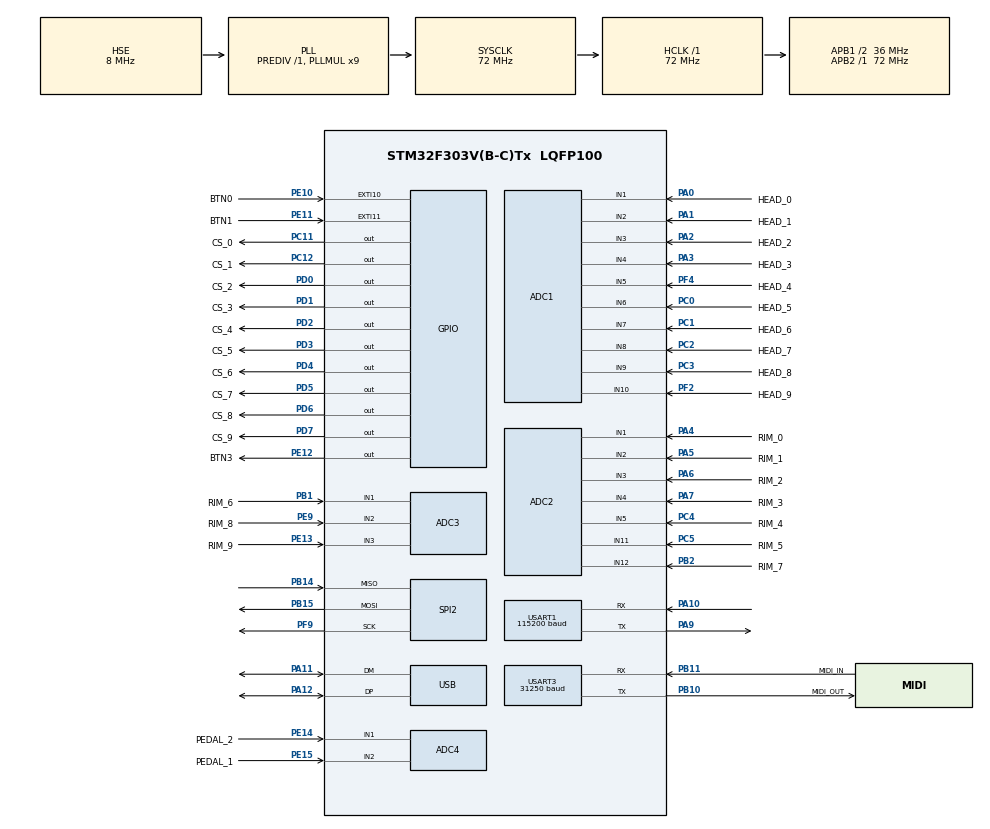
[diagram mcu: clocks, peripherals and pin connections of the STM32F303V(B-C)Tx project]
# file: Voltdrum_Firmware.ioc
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ADC1.Channel=ADC_CHANNEL_9
ADC1.Channel-0\#ChannelRegularConversion=ADC_CHANNEL_1
ADC1.Channel-13\#ChannelRegularConversion=ADC_CHANNEL_2
ADC1.Channel-14\#ChannelRegularConversion=ADC_CHANNEL_3
ADC1.Channel-15\#ChannelRegularConversion=ADC_CHANNEL_4
ADC1.Channel-16\#ChannelRegularConversion=ADC_CHANNEL_5
ADC1.Channel-17\#ChannelRegularConversion=ADC_CHANNEL_6
ADC1.Channel-18\#ChannelRegularConversion=ADC_CHANNEL_7
ADC1.Channel-19\#ChannelRegularConversion=ADC_CHANNEL_8
ADC1.Channel-20\#ChannelRegularConversion=ADC_CHANNEL_9
ADC1.Channel-21\#ChannelRegularConversion=ADC_CHANNEL_10
ADC1.NbrOfConversion=10
ADC1.Rank-13\#ChannelRegularConversion=2
ADC1.Rank-14\#ChannelRegularConversion=3
ADC1.Rank-15\#ChannelRegularConversion=4
ADC1.Rank-16\#ChannelRegularConversion=5
ADC1.Rank-17\#ChannelRegularConversion=6
ADC1.Rank-18\#ChannelRegularConversion=7
ADC1.Rank-19\#ChannelRegularConversion=8
ADC1.Rank-20\#ChannelRegularConversion=9
ADC1.Rank-21\#ChannelRegularConversion=10
ADC1.master=1
ADC2.Channel=ADC_CHANNEL_11
ADC2.Channel-0\#ChannelRegularConversion=ADC_CHANNEL_1
ADC2.Channel-1\#ChannelRegularConversion=ADC_CHANNEL_2
ADC2.Channel-2\#ChannelRegularConversion=ADC_CHANNEL_3
ADC2.Channel-3\#ChannelRegularConversion=ADC_CHANNEL_4
ADC2.Channel-4\#ChannelRegularConversion=ADC_CHANNEL_5
ADC2.Channel-5\#ChannelRegularConversion=ADC_CHANNEL_12
ADC2.Channel-6\#ChannelRegularConversion=ADC_CHANNEL_11
ADC2.NbrOfConversion=7
ADC2.Offset-0\#ChannelRegularConversion=0
ADC2.Offset-1\#ChannelRegularConversion=0
ADC2.Offset-2\#ChannelRegularConversion=0
ADC2.Offset-3\#ChannelRegularConversion=0
ADC2.Offset-4\#ChannelRegularConversion=0
ADC2.Offset-5\#ChannelRegularConversion=0
ADC2.Offset-6\#ChannelRegularConversion=0
ADC2.OffsetNumber-0\#ChannelRegularConversion=ADC_OFFSET_NONE
ADC2.OffsetNumber-1\#ChannelRegularConversion=ADC_OFFSET_NONE
ADC2.OffsetNumber-2\#ChannelRegularConversion=ADC_OFFSET_NONE
ADC2.OffsetNumber-3\#ChannelRegularConversion=ADC_OFFSET_NONE
ADC2.OffsetNumber-4\#ChannelRegularConversion=ADC_OFFSET_NONE
ADC2.OffsetNumber-5\#ChannelRegularConversion=ADC_OFFSET_NONE
ADC2.OffsetNumber-6\#ChannelRegularConversion=ADC_OFFSET_NONE
ADC2.Rank-0\#ChannelRegularConversion=1
ADC2.Rank-1\#ChannelRegularConversion=2
ADC2.Rank-2\#ChannelRegularConversion=3
ADC2.Rank-3\#ChannelRegularConversion=4
ADC2.Rank-4\#ChannelRegularConversion=5
ADC2.Rank-5\#ChannelRegularConversion=6
ADC2.Rank-6\#ChannelRegularConversion=7
ADC2.SamplingTime-0\#ChannelRegularConversion=ADC_SAMPLETIME_1CYCLE_5
ADC2.SamplingTime-1\#ChannelRegularConversion=ADC_SAMPLETIME_1CYCLE_5
ADC2.SamplingTime-2\#ChannelRegularConversion=ADC_SAMPLETIME_1CYCLE_5
ADC2.SamplingTime-3\#ChannelRegularConversion=ADC_SAMPLETIME_1CYCLE_5
ADC2.SamplingTime-4\#ChannelRegularConversion=ADC_SAMPLETIME_1CYCLE_5
ADC2.SamplingTime-5\#ChannelRegularConversion=ADC_SAMPLETIME_1CYCLE_5
ADC2.SamplingTime-6\#ChannelRegularConversion=ADC_SAMPLETIME_1CYCLE_5
ADC3.Channel=ADC_CHANNEL_2
ADC3.Channel-0\#ChannelRegularConversion=ADC_CHANNEL_1
ADC3.Channel-1\#ChannelRegularConversion=ADC_CHANNEL_2
ADC3.Channel-2\#ChannelRegularConversion=ADC_CHANNEL_3
ADC3.NbrOfConversion=3
ADC3.Offset-0\#ChannelRegularConversion=0
ADC3.Offset-1\#ChannelRegularConversion=0
ADC3.Offset-2\#ChannelRegularConversion=0
ADC3.OffsetNumber-0\#ChannelRegularConversion=ADC_OFFSET_NONE
ADC3.OffsetNumber-1\#ChannelRegularConversion=ADC_OFFSET_NONE
ADC3.OffsetNumber-2\#ChannelRegularConversion=ADC_OFFSET_NONE
ADC3.Rank-0\#ChannelRegularConversion=1
ADC3.Rank-1\#ChannelRegularConversion=2
ADC3.Rank-2\#ChannelRegularConversion=3
ADC3.SamplingTime-0\#ChannelRegularConversion=ADC_SAMPLETIME_1CYCLE_5
ADC3.SamplingTime-1\#ChannelRegularConversion=ADC_SAMPLETIME_1CYCLE_5
ADC3.SamplingTime-2\#ChannelRegularConversion=ADC_SAMPLETIME_1CYCLE_5
ADC3.master=1
ADC4.Channel=ADC_CHANNEL_1
ADC4.Channel-0\#ChannelRegularConversion=ADC_CHANNEL_1
ADC4.Channel-1\#ChannelRegularConversion=ADC_CHANNEL_2
ADC4.NbrOfConversion=2
ADC4.Offset-0\#ChannelRegularConversion=0
ADC4.Offset-1\#ChannelRegularConversion=0
ADC4.OffsetNumber-0\#ChannelRegularConversion=ADC_OFFSET_NONE
ADC4.OffsetNumber-1\#ChannelRegularConversion=ADC_OFFSET_NONE
ADC4.Rank-0\#ChannelRegularConversion=1
ADC4.Rank-1\#ChannelRegularConversion=2
ADC4.SamplingTime-0\#ChannelRegularConversion=ADC_SAMPLETIME_1CYCLE_5
ADC4.SamplingTime-1\#ChannelRegularConversion=ADC_SAMPLETIME_1CYCLE_5
Dma.ADC1.3.Direction=DMA_PERIPH_TO_MEMORY
Dma.ADC1.3.Instance=DMA1_Channel1
Dma.ADC1.3.MemDataAlignment=DMA_MDATAALIGN_WORD
Dma.ADC1.3.MemInc=DMA_MINC_ENABLE
Dma.ADC1.3.Mode=DMA_CIRCULAR
Dma.ADC1.3.PeriphDataAlignment=DMA_PDATAALIGN_WORD
Dma.ADC1.3.PeriphInc=DMA_PINC_DISABLE
Dma.ADC1.3.Priority=DMA_PRIORITY_HIGH
Dma.ADC2.0.Direction=DMA_PERIPH_TO_MEMORY
Dma.ADC2.0.Instance=DMA2_Channel1
Dma.ADC2.0.MemDataAlignment=DMA_MDATAALIGN_WORD
Dma.ADC2.0.MemInc=DMA_MINC_ENABLE
Dma.ADC2.0.Mode=DMA_CIRCULAR
Dma.ADC2.0.PeriphDataAlignment=DMA_PDATAALIGN_WORD
Dma.ADC2.0.PeriphInc=DMA_PINC_DISABLE
Dma.ADC2.0.Priority=DMA_PRIORITY_HIGH
Dma.ADC3.1.Direction=DMA_PERIPH_TO_MEMORY
Dma.ADC3.1.Instance=DMA2_Channel5
Dma.ADC3.1.MemDataAlignment=DMA_MDATAALIGN_WORD
Dma.ADC3.1.MemInc=DMA_MINC_ENABLE
Dma.ADC3.1.Mode=DMA_CIRCULAR
Dma.ADC3.1.PeriphDataAlignment=DMA_PDATAALIGN_WORD
Dma.ADC3.1.PeriphInc=DMA_PINC_DISABLE
Dma.ADC3.1.Priority=DMA_PRIORITY_HIGH
Dma.ADC4.2.Direction=DMA_PERIPH_TO_MEMORY
Dma.ADC4.2.Instance=DMA2_Channel2
Dma.ADC4.2.MemDataAlignment=DMA_MDATAALIGN_WORD
Dma.ADC4.2.MemInc=DMA_MINC_ENABLE
Dma.ADC4.2.Mode=DMA_CIRCULAR
Dma.ADC4.2.PeriphDataAlignment=DMA_PDATAALIGN_WORD
Dma.ADC4.2.PeriphInc=DMA_PINC_DISABLE
Dma.ADC4.2.Priority=DMA_PRIORITY_MEDIUM
Dma.Request0=ADC2
Dma.Request1=ADC3
Dma.Request2=ADC4
Dma.Request3=ADC1
Mcu.Family=STM32F3
Mcu.Name=STM32F303V(B-C)Tx
Mcu.Package=LQFP100
NVIC.EXTI15_10_IRQn=true\:4\:0\:true
NVIC.PriorityGroup=NVIC_PRIORITYGROUP_4
NVIC.TIM1_UP_TIM16_IRQn=true\:1\:0\:true
NVIC.TIM2_IRQn=true\:2\:0\:true
NVIC.TIM3_IRQn=true\:4\:0\:true
NVIC.USART1_IRQn=true\:4\:0\:true
NVIC.USART3_IRQn=true\:3\:0\:true
NVIC.USB_LP_CAN_RX0_IRQn=true\:4\:0\:true
PA0.GPIO_Label=HEAD_0
PA0.GPIO_Mode=GPIO_MODE_ANALOG
PA0.GPIO_PuPd=GPIO_NOPULL
PA0.Mode=IN1-Single-Ended
PA0.Signal=ADC1_IN1
PA1.GPIO_Label=HEAD_1
PA1.GPIO_Mode=GPIO_MODE_ANALOG
PA1.GPIO_PuPd=GPIO_NOPULL
PA1.Mode=IN2-Single-Ended
PA1.Signal=ADC1_IN2
PA10.Mode=Asynchronous
PA10.Signal=USART1_RX
PA11.Mode=Device
PA11.Signal=USB_DM
PA12.Mode=Device
PA12.Signal=USB_DP
PA13.Mode=JTAG(5-pin)
PA13.Signal=SYS_JTMS-SWDIO
PA14.Mode=JTAG(5-pin)
PA14.Signal=SYS_JTCK-SWCLK
PA15.Mode=JTAG(5-pin)
PA15.Signal=SYS_JTDI
PA2.GPIO_Label=HEAD_2
PA2.GPIO_Mode=GPIO_MODE_ANALOG
PA2.GPIO_PuPd=GPIO_NOPULL
PA2.Mode=IN3-Single-Ended
PA2.Signal=ADC1_IN3
PA3.GPIO_Label=HEAD_3
PA3.GPIO_Mode=GPIO_MODE_ANALOG
PA3.GPIO_PuPd=GPIO_NOPULL
PA3.Mode=IN4-Single-Ended
PA3.Signal=ADC1_IN4
PA4.GPIO_Label=RIM_0
PA4.GPIO_Mode=GPIO_MODE_ANALOG
PA4.GPIO_PuPd=GPIO_NOPULL
PA4.Mode=IN1-Single-Ended
PA4.Signal=ADC2_IN1
PA5.GPIO_Label=RIM_1
PA5.GPIO_Mode=GPIO_MODE_ANALOG
PA5.GPIO_PuPd=GPIO_NOPULL
PA5.Mode=IN2-Single-Ended
PA5.Signal=ADC2_IN2
PA6.GPIO_Label=RIM_2
PA6.GPIO_Mode=GPIO_MODE_ANALOG
PA6.GPIO_PuPd=GPIO_NOPULL
PA6.Mode=IN3-Single-Ended
PA6.Signal=ADC2_IN3
PA7.GPIO_Label=RIM_3
PA7.GPIO_Mode=GPIO_MODE_ANALOG
PA7.GPIO_PuPd=GPIO_NOPULL
PA7.Mode=IN4-Single-Ended
PA7.Signal=ADC2_IN4
PA9.Mode=Asynchronous
PA9.Signal=USART1_TX
PB1.GPIO_Label=RIM_6
PB1.GPIO_Mode=GPIO_MODE_ANALOG
PB1.GPIO_PuPd=GPIO_NOPULL
PB1.Mode=IN1-Single-Ended
PB1.Signal=ADC3_IN1
PB10.GPIO_Label=MIDI_OUT
PB10.GPIO_Mode=GPIO_MODE_AF_PP
PB10.GPIO_PuPd=GPIO_PULLUP
PB10.GPIO_Speed=GPIO_SPEED_LOW
PB10.Mode=Asynchronous
PB10.Signal=USART3_TX
PB11.GPIO_Label=MIDI_IN
PB11.GPIO_Mode=GPIO_MODE_AF_PP
PB11.GPIO_PuPd=GPIO_PULLUP
PB11.GPIO_Speed=GPIO_SPEED_LOW
PB11.Mode=Asynchronous
PB11.Signal=USART3_RX
PB14.Mode=Full_Duplex_Master
PB14.Signal=SPI2_MISO
PB15.Mode=Full_Duplex_Master
PB15.Signal=SPI2_MOSI
PB2.GPIO_Label=RIM_7
PB2.GPIO_Mode=GPIO_MODE_ANALOG
PB2.GPIO_PuPd=GPIO_NOPULL
PB2.Mode=IN12-Single-Ended
PB2.Signal=ADC2_IN12
PB3.Mode=JTAG(5-pin)
PB3.Signal=SYS_JTDO-TRACESWO
PB4.Mode=JTAG(5-pin)
PB4.Signal=SYS_NJTRST
PC0.GPIO_Label=HEAD_5
PC0.GPIO_Mode=GPIO_MODE_ANALOG
PC0.GPIO_PuPd=GPIO_NOPULL
PC0.Signal=ADCx_IN6
PC1.GPIO_Label=HEAD_6
PC1.GPIO_Mode=GPIO_MODE_ANALOG
PC1.GPIO_PuPd=GPIO_NOPULL
PC1.Signal=ADCx_IN7
PC11.GPIO_Label=CS_0
PC11.GPIO_ModeDefaultOutputPP=GPIO_MODE_OUTPUT_PP
PC11.GPIO_PuPd=GPIO_NOPULL
PC11.GPIO_Speed=GPIO_SPEED_LOW
PC11.Signal=GPIO_Output
PC12.GPIO_Label=CS_1
PC12.GPIO_ModeDefaultOutputPP=GPIO_MODE_OUTPUT_PP
PC12.GPIO_PuPd=GPIO_NOPULL
PC12.GPIO_Speed=GPIO_SPEED_LOW
PC12.Signal=GPIO_Output
PC14-OSC32_IN.Mode=LSE-External-Oscillator
PC14-OSC32_IN.Signal=RCC_OSC32_IN
PC15-OSC32_OUT.Mode=LSE-External-Oscillator
PC15-OSC32_OUT.Signal=RCC_OSC32_OUT
PC2.GPIO_Label=HEAD_7
PC2.GPIO_Mode=GPIO_MODE_ANALOG
PC2.GPIO_PuPd=GPIO_NOPULL
PC2.Signal=ADCx_IN8
PC3.GPIO_Label=HEAD_8
PC3.GPIO_Mode=GPIO_MODE_ANALOG
PC3.GPIO_PuPd=GPIO_NOPULL
PC3.Signal=ADCx_IN9
PC4.GPIO_Label=RIM_4
PC4.GPIO_Mode=GPIO_MODE_ANALOG
PC4.GPIO_PuPd=GPIO_NOPULL
PC4.Mode=IN5-Single-Ended
PC4.Signal=ADC2_IN5
PC5.GPIO_Label=RIM_5
PC5.GPIO_Mode=GPIO_MODE_ANALOG
PC5.GPIO_PuPd=GPIO_NOPULL
PC5.Mode=IN11-Single-Ended
PC5.Signal=ADC2_IN11
PD0.GPIO_Label=CS_2
PD0.GPIO_ModeDefaultOutputPP=GPIO_MODE_OUTPUT_PP
PD0.GPIO_PuPd=GPIO_NOPULL
PD0.GPIO_Speed=GPIO_SPEED_LOW
PD0.Signal=GPIO_Output
PD1.GPIO_Label=CS_3
PD1.GPIO_ModeDefaultOutputPP=GPIO_MODE_OUTPUT_PP
PD1.GPIO_PuPd=GPIO_NOPULL
PD1.GPIO_Speed=GPIO_SPEED_LOW
PD1.Signal=GPIO_Output
PD2.GPIO_Label=CS_4
PD2.GPIO_ModeDefaultOutputPP=GPIO_MODE_OUTPUT_PP
PD2.GPIO_PuPd=GPIO_NOPULL
PD2.GPIO_Speed=GPIO_SPEED_LOW
PD2.Signal=GPIO_Output
PD3.GPIO_Label=CS_5
PD3.GPIO_ModeDefaultOutputPP=GPIO_MODE_OUTPUT_PP
PD3.GPIO_PuPd=GPIO_NOPULL
PD3.GPIO_Speed=GPIO_SPEED_LOW
PD3.Signal=GPIO_Output
PD4.GPIO_Label=CS_6
PD4.GPIO_ModeDefaultOutputPP=GPIO_MODE_OUTPUT_PP
PD4.GPIO_PuPd=GPIO_NOPULL
PD4.GPIO_Speed=GPIO_SPEED_LOW
PD4.Signal=GPIO_Output
PD5.GPIO_Label=CS_7
PD5.GPIO_ModeDefaultOutputPP=GPIO_MODE_OUTPUT_PP
PD5.GPIO_PuPd=GPIO_NOPULL
PD5.GPIO_Speed=GPIO_SPEED_LOW
PD5.Signal=GPIO_Output
PD6.GPIO_Label=CS_8
PD6.GPIO_ModeDefaultOutputPP=GPIO_MODE_OUTPUT_PP
PD6.GPIO_PuPd=GPIO_NOPULL
PD6.GPIO_Speed=GPIO_SPEED_LOW
PD6.Signal=GPIO_Output
PD7.GPIO_Label=CS_9
PD7.GPIO_ModeDefaultOutputPP=GPIO_MODE_OUTPUT_PP
PD7.GPIO_PuPd=GPIO_NOPULL
PD7.GPIO_Speed=GPIO_SPEED_LOW
PD7.Signal=GPIO_Output
PE10.GPIO_Label=BTN0
PE10.GPIO_ModeDefaultEXTI=GPIO_MODE_IT_RISING
PE10.GPIO_PuPd=GPIO_NOPULL
PE10.Signal=GPXTI10
PE11.GPIO_Label=BTN1
PE11.GPIO_ModeDefaultEXTI=GPIO_MODE_IT_RISING
PE11.GPIO_PuPd=GPIO_NOPULL
PE11.Signal=GPXTI11
PE12.GPIO_Label=BTN3
PE12.Signal=GPIO_Output
PE13.GPIO_Label=RIM_9
PE13.GPIO_Mode=GPIO_MODE_ANALOG
PE13.GPIO_PuPd=GPIO_NOPULL
PE13.Mode=IN3-Single-Ended
PE13.Signal=ADC3_IN3
PE14.GPIO_Label=PEDAL_2
PE14.GPIO_Mode=GPIO_MODE_ANALOG
PE14.GPIO_PuPd=GPIO_NOPULL
PE14.Mode=IN1-Single-Ended
PE14.Signal=ADC4_IN1
PE15.GPIO_Label=PEDAL_1
PE15.GPIO_Mode=GPIO_MODE_ANALOG
PE15.GPIO_PuPd=GPIO_NOPULL
PE15.Mode=IN2-Single-Ended
PE15.Signal=ADC4_IN2
PE9.GPIO_Label=RIM_8
PE9.GPIO_Mode=GPIO_MODE_ANALOG
PE9.GPIO_PuPd=GPIO_NOPULL
PE9.Mode=IN2-Single-Ended
PE9.Signal=ADC3_IN2
PF0-OSC_IN.Mode=HSE-External-Oscillator
PF0-OSC_IN.Signal=RCC_OSC_IN
PF1-OSC_OUT.Mode=HSE-External-Oscillator
PF1-OSC_OUT.Signal=RCC_OSC_OUT
PF2.GPIO_Label=HEAD_9
PF2.GPIO_Mode=GPIO_MODE_ANALOG
PF2.GPIO_PuPd=GPIO_NOPULL
PF2.Signal=ADCx_IN10
PF4.GPIO_Label=HEAD_4
PF4.GPIO_Mode=GPIO_MODE_ANALOG
PF4.GPIO_PuPd=GPIO_NOPULL
PF4.Mode=IN5-Single-Ended
PF4.Signal=ADC1_IN5
PF9.Mode=Full_Duplex_Master
PF9.Signal=SPI2_SCK
ProjectManager.TargetToolchain=TrueSTUDIO 4.3.1
RCC.AHBFreq_Value=72000000
RCC.APB1CLKDivider=RCC_HCLK_DIV2
RCC.APB1Freq_Value=36000000
RCC.APB1TimFreq_Value=72000000
RCC.APB2Freq_Value=72000000
RCC.APB2TimFreq_Value=72000000
RCC.CortexFreq_Value=9000000
RCC.EnbaleCSS=true
RCC.HCLKFreq_Value=72000000
RCC.HSE_VALUE=8000000
RCC.HSIState=RCC_HSI_ON
RCC.HSI_VALUE=8000000
RCC.LSE_VALUE=32768
RCC.PLLMUL=RCC_PLL_MUL9
RCC.PRESCALERUSB=RCC_USBPLLCLK_DIV1_5
RCC.SYSCLKFreq_VALUE=72000000
RCC.SYSCLKSourceVirtual=RCC_SYSCLKSOURCE_PLLCLK
RCC.USBFreq_Value=48000000
SH.ADCx_IN10.0=ADC1_IN10,IN10-Single-Ended
SH.ADCx_IN6.0=ADC1_IN6,IN6-Single-Ended
SH.ADCx_IN7.0=ADC1_IN7,IN7-Single-Ended
SH.ADCx_IN8.0=ADC1_IN8,IN8-Single-Ended
SH.ADCx_IN9.0=ADC1_IN9,IN9-Single-Ended
SPI2.BaudRatePrescaler-Full_Duplex_Master=SPI_BAUDRATEPRESCALER_32
SPI2.CalculateBaudRate-Full_Duplex_Master=1.125 MBits/s
SPI2.DataSize-Full_Duplex_Master=SPI_DATASIZE_16BIT
SPI2.Mode-Full_Duplex_Master=SPI_MODE_MASTER
TIM1.Period=1
TIM1.Prescaler=3600
TIM2.Period=5
TIM2.Prescaler=14400
TIM3.Period=50
TIM3.Prescaler=14400
USART1.BaudRate=115200
USART3.BaudRate=31250
USART3.DataInvertParam-Asynchronous=UART_ADVFEATURE_DATAINV_DISABLE
USART3.RxPinLevelInvertParam-Asynchronous=UART_ADVFEATURE_RXINV_DISABLE
USART3.TxPinLevelInvertParam-Asynchronous=UART_ADVFEATURE_TXINV_DISABLE
USB_DEVICE.CLASS_NAME-AUDIO_FS=AUDIO
USB_DEVICE.USBD_HandleTypeDef-AUDIO_FS=hUsbDeviceFS
USB_DEVICE.VirtualMode-AUDIO_FS=Audio
VP_TIM1_VS_ClockSourceINT.Mode=Internal
VP_TIM2_VS_ClockSourceINT.Mode=Internal
VP_TIM3_VS_ClockSourceINT.Mode=Internal
VP_USB_DEVICE_VS_USB_DEVICE_AUDIO_FS.Mode=AUDIO_FS

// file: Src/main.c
/**
  ******************************************************************************
  * File Name          : main.c
  * Date               : 13/07/2015 16:14:16
  * Description        : Main program body
  ******************************************************************************
  *
  * COPYRIGHT(c) 2015 STMicroelectronics
  *
  * Redistribution and use in source and binary forms, with or without modification,
  * are permitted provided that the following conditions are met:
  *   1. Redistributions of source code must retain the above copyright notice,
  *      this list of conditions and the following disclaimer.
  *   2. Redistributions in binary form must reproduce the above copyright notice,
  *      this list of conditions and the following disclaimer in the documentation
  *      and/or other materials provided with the distribution.
  *   3. Neither the name of STMicroelectronics nor the names of its contributors
  *      may be used to endorse or promote products derived from this software
  *      without specific prior written permission.
  *
  * THIS SOFTWARE IS PROVIDED BY THE COPYRIGHT HOLDERS AND CONTRIBUTORS "AS IS"
  * AND ANY EXPRESS OR IMPLIED WARRANTIES, INCLUDING, BUT NOT LIMITED TO, THE
  * IMPLIED WARRANTIES OF MERCHANTABILITY AND FITNESS FOR A PARTICULAR PURPOSE ARE
  * DISCLAIMED. IN NO EVENT SHALL THE COPYRIGHT HOLDER OR CONTRIBUTORS BE LIABLE
  * FOR ANY DIRECT, INDIRECT, INCIDENTAL, SPECIAL, EXEMPLARY, OR CONSEQUENTIAL
  * DAMAGES (INCLUDING, BUT NOT LIMITED TO, PROCUREMENT OF SUBSTITUTE GOODS OR
  * SERVICES; LOSS OF USE, DATA, OR PROFITS; OR BUSINESS INTERRUPTION) HOWEVER
  * CAUSED AND ON ANY THEORY OF LIABILITY, WHETHER IN CONTRACT, STRICT LIABILITY,
  * OR TORT (INCLUDING NEGLIGENCE OR OTHERWISE) ARISING IN ANY WAY OUT OF THE USE
  * OF THIS SOFTWARE, EVEN IF ADVISED OF THE POSSIBILITY OF SUCH DAMAGE.
  *
  ******************************************************************************
  */

#include "stm32f3xx_hal.h"
#include "adc.h"
#include "dma.h"
#include "spi.h"
#include "tim.h"
#include "usart.h"
#include "usb_device.h"
#include "gpio.h"

/* USER CODE BEGIN Includes */
#include "midi.h"
#include "mcp4251.h"
#include "triggerchannel.h"
#include "hihatchannel.h"
#include "performance.h"
/* USER CODE END Includes */

/* USER CODE BEGIN PV */

#define headChannelCount 10
#define rimChannelCount 10
#define hihatChannelCount 2

volatile int irqflag_timer1 = 0;
volatile int irqflag_timer2 = 0;
volatile int irqflag_timer3 = 0;
volatile int irqflag_btns[3] = {0,0,0};

volatile uint32_t adc1Samples[10*4];
volatile uint32_t adc2Samples[7*4];
volatile uint32_t adc3Samples[3*4];
volatile uint32_t adc4Samples[2];

TriggerChannel triggerChannelsHead[headChannelCount];
TriggerChannel triggerChannelsRim[rimChannelCount];
HiHatChannel hiHatChannels[hihatChannelCount];

/* USER CODE END PV */

void SystemClock_Config(void);

/* USER CODE BEGIN 0 */

void initHeadChannels(){

	int i;
	for(i = 0; i < headChannelCount; i++){
		triggerChannelsHead[i].potiWiperId = MCP4261_WIPER0;
		triggerchannel_init(&triggerChannelsHead[i], &(adc1Samples[i]), &(adc1Samples[i+10]), &(adc1Samples[i+20]), &(adc1Samples[i+30]));

	}

	triggerChannelsHead[0].potiCsPort = GPIOC;
	triggerChannelsHead[0].potiCsPin = GPIO_PIN_11;
	triggerChannelsHead[0].midinote = 36;

	triggerChannelsHead[1].potiCsPort = GPIOC;
	triggerChannelsHead[1].potiCsPin = GPIO_PIN_12;
	triggerChannelsHead[1].midinote = 38;

	triggerChannelsHead[2].potiCsPort = GPIOD;
	triggerChannelsHead[2].potiCsPin = GPIO_PIN_0;
	triggerChannelsHead[2].midinote = 38;

	triggerChannelsHead[3].potiCsPort = GPIOD;
	triggerChannelsHead[3].potiCsPin = GPIO_PIN_1;
	triggerChannelsHead[3].midinote = 38;

	triggerChannelsHead[4].potiCsPort = GPIOD;
	triggerChannelsHead[4].potiCsPin = GPIO_PIN_2;
	triggerChannelsHead[4].midinote = 38;

	triggerChannelsHead[5].potiCsPort = GPIOD;
	triggerChannelsHead[5].potiCsPin = GPIO_PIN_3;
	triggerChannelsHead[5].midinote = 38;

	triggerChannelsHead[6].potiCsPort = GPIOD;
	triggerChannelsHead[6].potiCsPin = GPIO_PIN_4;
	triggerChannelsHead[6].midinote = 38;

	triggerChannelsHead[7].potiCsPort = GPIOD;
	triggerChannelsHead[7].potiCsPin = GPIO_PIN_5;
	triggerChannelsHead[7].midinote = 38;

	triggerChannelsHead[8].potiCsPort = GPIOD;
	triggerChannelsHead[8].potiCsPin = GPIO_PIN_6;
	triggerChannelsHead[8].midinote = 38;

	triggerChannelsHead[9].potiCsPort = GPIOD;
	triggerChannelsHead[9].potiCsPin = GPIO_PIN_7;
	triggerChannelsHead[9].midinote = 38;

	for(i = 0; i < headChannelCount; i++){
		HAL_GPIO_WritePin(triggerChannelsHead[i].potiCsPort,triggerChannelsHead[i].potiCsPin,GPIO_PIN_SET);
	}

	HAL_Delay(10);

	//set initial wiper positions
	triggerchannel_setWiper(&triggerChannelsHead[0], 10);
	triggerchannel_setWiper(&triggerChannelsHead[1], 30);
	triggerchannel_setWiper(&triggerChannelsHead[2], 30);
	triggerchannel_setWiper(&triggerChannelsHead[3], 30);
	triggerchannel_setWiper(&triggerChannelsHead[4], 30);
	triggerchannel_setWiper(&triggerChannelsHead[5], 30);
	triggerchannel_setWiper(&triggerChannelsHead[6], 30);
	triggerchannel_setWiper(&triggerChannelsHead[7], 30);
	triggerchannel_setWiper(&triggerChannelsHead[8], 30);
	triggerchannel_setWiper(&triggerChannelsHead[9], 30);

}

void initRimChannels(){

	int i;
	for(i = 0; i < headChannelCount; i++){
		triggerChannelsRim[i].potiWiperId = MCP4261_WIPER1;
		if(i < 7) triggerchannel_init(&triggerChannelsRim[i], &(adc2Samples[i]),&(adc2Samples[i+7]),&(adc2Samples[i+14]),&(adc2Samples[i+21]));
		else triggerchannel_init(&triggerChannelsRim[i], &(adc3Samples[i-7]),&(adc3Samples[i-7+3]),&(adc3Samples[i-7+6]),&(adc3Samples[i-7+9]));
	}

	triggerChannelsRim[0].potiCsPort = GPIOC;
	triggerChannelsRim[0].potiCsPin = GPIO_PIN_11;
	triggerChannelsRim[0].midinote = 36;

	triggerChannelsRim[1].potiCsPort = GPIOC;
	triggerChannelsRim[1].potiCsPin = GPIO_PIN_12;
	triggerChannelsRim[1].midinote = 38;

	triggerChannelsRim[2].potiCsPort = GPIOD;
	triggerChannelsRim[2].potiCsPin = GPIO_PIN_0;
	triggerChannelsRim[2].midinote = 38;

	triggerChannelsRim[3].potiCsPort = GPIOD;
	triggerChannelsRim[3].potiCsPin = GPIO_PIN_1;
	triggerChannelsRim[3].midinote = 38;

	triggerChannelsRim[4].potiCsPort = GPIOD;
	triggerChannelsRim[4].potiCsPin = GPIO_PIN_2;
	triggerChannelsRim[4].midinote = 38;

	triggerChannelsRim[5].potiCsPort = GPIOD;
	triggerChannelsRim[5].potiCsPin = GPIO_PIN_3;
	triggerChannelsRim[5].midinote = 38;

	triggerChannelsRim[6].potiCsPort = GPIOD;
	triggerChannelsRim[6].potiCsPin = GPIO_PIN_4;
	triggerChannelsRim[6].midinote = 38;

	triggerChannelsRim[7].potiCsPort = GPIOD;
	triggerChannelsRim[7].potiCsPin = GPIO_PIN_5;
	triggerChannelsRim[7].midinote = 38;

	triggerChannelsRim[8].potiCsPort = GPIOD;
	triggerChannelsRim[8].potiCsPin = GPIO_PIN_6;
	triggerChannelsRim[8].midinote = 38;

	triggerChannelsRim[9].potiCsPort = GPIOD;
	triggerChannelsRim[9].potiCsPin = GPIO_PIN_7;
	triggerChannelsRim[9].midinote = 38;

	for(i = 0; i < rimChannelCount; i++){

		HAL_GPIO_WritePin(triggerChannelsRim[i].potiCsPort,triggerChannelsRim[i].potiCsPin,GPIO_PIN_SET);

	}

	HAL_Delay(10);

	triggerchannel_setWiper(&triggerChannelsRim[0], 50);
	triggerchannel_setWiper(&triggerChannelsRim[1], 50);
	triggerchannel_setWiper(&triggerChannelsRim[2], 50);
	triggerchannel_setWiper(&triggerChannelsRim[3], 50);
	triggerchannel_setWiper(&triggerChannelsRim[4], 50);
	triggerchannel_setWiper(&triggerChannelsRim[5], 50);
	triggerchannel_setWiper(&triggerChannelsRim[6], 50);
	triggerchannel_setWiper(&triggerChannelsRim[7], 50);
	triggerchannel_setWiper(&triggerChannelsRim[8], 50);
	triggerchannel_setWiper(&triggerChannelsRim[9], 50);

}

void initHiHatChannels(){
		hihatchannel_init(&hiHatChannels[0], &adc4Samples[0], &triggerChannelsHead [0]);
		hihatchannel_init(&hiHatChannels[1], &adc4Samples[1], &triggerChannelsRim [9]);

}

//
//int getHiHatResistance(HiHatChannel *chan){
//	int16_t adcValue = -1; // -1 is Errorvalue
//
//	// setup adc for channel
//	HAL_ADC_ConfigChannel(chan->adcHandle, &chan->adcSConfig);
//
//
//	HAL_ADC_Start(chan->adcHandle);									//start sampling
//	HAL_ADC_PollForConversion(chan->adcHandle, 100);					//wait for conversion
//
//	if(HAL_ADC_GetState(chan->adcHandle) == HAL_ADC_STATE_EOC_REG){ 	//check ADC error state
//		adcValue = HAL_ADC_GetValue(chan->adcHandle);
//
//		HAL_ADC_Stop(chan->adcHandle);
//	}
//
//	int resistance = 10000/( (3.3 * 4096) / (adcValue * 3.3) -1 );
//
//	return resistance;
//}

volatile int btnDebounceIRQTimer[3] = {0,0,0};
void HAL_GPIO_EXTI_Callback (uint16_t GPIO_Pin){
	if(GPIO_Pin == GPIO_PIN_10) btnDebounceIRQTimer[0] = 1;	// Btn 0 clicked
	if(GPIO_Pin == GPIO_PIN_11) btnDebounceIRQTimer[1] = 1;	// Btn 1 clicked
	if(GPIO_Pin == GPIO_PIN_12) btnDebounceIRQTimer[2] = 1;	// Btn 2 clicked
}

void HAL_UART_TxCpltCallback (UART_HandleTypeDef *huart){
	if(huart == &huart3) midi_onTxComplete();
}
void HAL_UART_ErrorCallback (UART_HandleTypeDef *huart){
	if(huart == &huart3) midi_onTxComplete();

}

/*
 * Triggered every 200us
 *
 * Processing triggerchannel samples taken
 */
void onTimer1Triggered(){
	int i;
	//triggerchannel_process(&triggerChannelsHead[0]);

	for(i = 0; i < headChannelCount; i++){
		triggerchannel_process(&triggerChannelsHead[i]);
	}

	for(i = 0; i < rimChannelCount; i++){
		triggerchannel_process(&triggerChannelsRim[i]);
	}

}
/*
 * Triggered every 1ms
 *
 * processing hihat-samples taken
 */
void onTimer2Triggered(){
	int i;

	for(i = 0; i < hihatChannelCount; i++){
		hihatchannel_process(&hiHatChannels[i]);
	}

}

/*
 * Triggered on btn0 click with debounce delay
 */
void onBtn0Triggered(){
	midi_sendNote(10,36,120);
}

/*
 * Triggered on btn1 click with debounce delay
 */
void onBtn1Triggered(){

		triggerChannelsHead[0].midinote = 38;

}

/*
 * Triggered on btn2 click with debounce delay
 */
void onBtn2Triggered(){

}

/* USER CODE END 0 */

int main(void)
{

  /* MCU Configuration----------------------------------------------------------*/

  /* Reset of all peripherals, Initializes the Flash interface and the Systick. */
  HAL_Init();

  /* Configure the system clock */
  SystemClock_Config();

  /* Initialize all configured peripherals */
  MX_GPIO_Init();
  MX_DMA_Init();
  MX_ADC1_Init();
  MX_ADC2_Init();
  MX_ADC3_Init();
  MX_ADC4_Init();
  MX_SPI2_Init();
  MX_TIM1_Init();
  MX_TIM2_Init();
  MX_TIM3_Init();
  MX_USART1_UART_Init();
  MX_USART3_UART_Init();
  MX_USB_DEVICE_Init();

  /* USER CODE BEGIN 2 */

  //initializes the datastructure and amplifiing of the triggerchannels
  initHeadChannels();
  initRimChannels();
  initHiHatChannels();

  HAL_UART_Transmit_IT(&huart1, "init...",7);
  HAL_TIM_Base_Start_IT(&htim1);
  HAL_TIM_Base_Start_IT(&htim2);
  HAL_TIM_Base_Start_IT(&htim3);
  /* USER CODE END 2 */

  /* USER CODE BEGIN 3 */
  /* Infinite loop */
  while (1)
  {

	  if(irqflag_timer1){
		  //performance_setProcessing1();
			irqflag_timer1 = 0;
			onTimer1Triggered();
	  	//performance_setIdle1();
	  } else if(irqflag_timer2){
	  	 //performance_setProcessing2();
		  irqflag_timer2 = 0;
		  onTimer2Triggered();
	  	//performance_setIdle2();
	  } else if(irqflag_btns[0]){
		  //performance_setProcessing();
		  irqflag_btns[0] = 0;
		  onBtn0Triggered();
	  	//performance_setIdle1();
	  } else if(irqflag_btns[1]){
		  //performance_setProcessing();
		  irqflag_btns[1] = 0;
		  onBtn1Triggered();
	  	//performance_setIdle1();
	  } else if(irqflag_btns[2]){
		  //performance_setProcessing();
		  irqflag_btns[2] = 0;
		  onBtn2Triggered();
	  	//performance_setIdle1();
	  }

  }
  /* USER CODE END 3 */

}

/** System Clock Configuration
*/
void SystemClock_Config(void)
{

  RCC_OscInitTypeDef RCC_OscInitStruct;
  RCC_ClkInitTypeDef RCC_ClkInitStruct;
  RCC_PeriphCLKInitTypeDef PeriphClkInit;

  RCC_OscInitStruct.OscillatorType = RCC_OSCILLATORTYPE_HSE;
  RCC_OscInitStruct.HSEState = RCC_HSE_ON;
  RCC_OscInitStruct.HSEPredivValue = RCC_HSE_PREDIV_DIV1;
  RCC_OscInitStruct.PLL.PLLState = RCC_PLL_ON;
  RCC_OscInitStruct.PLL.PLLSource = RCC_PLLSOURCE_HSE;
  RCC_OscInitStruct.PLL.PLLMUL = RCC_PLL_MUL9;
  HAL_RCC_OscConfig(&RCC_OscInitStruct);

  RCC_ClkInitStruct.ClockType = RCC_CLOCKTYPE_SYSCLK|RCC_CLOCKTYPE_PCLK1;
  RCC_ClkInitStruct.SYSCLKSource = RCC_SYSCLKSOURCE_PLLCLK;
  RCC_ClkInitStruct.AHBCLKDivider = RCC_SYSCLK_DIV1;
  RCC_ClkInitStruct.APB1CLKDivider = RCC_HCLK_DIV2;
  RCC_ClkInitStruct.APB2CLKDivider = RCC_HCLK_DIV1;
  HAL_RCC_ClockConfig(&RCC_ClkInitStruct, FLASH_LATENCY_2);

  PeriphClkInit.PeriphClockSelection = RCC_PERIPHCLK_USB|RCC_PERIPHCLK_USART1
                              |RCC_PERIPHCLK_USART3|RCC_PERIPHCLK_TIM1
                              |RCC_PERIPHCLK_ADC12|RCC_PERIPHCLK_ADC34;
  PeriphClkInit.Usart1ClockSelection = RCC_USART1CLKSOURCE_PCLK2;
  PeriphClkInit.Usart3ClockSelection = RCC_USART3CLKSOURCE_PCLK1;
  PeriphClkInit.Adc12ClockSelection = RCC_ADC12PLLCLK_DIV1;
  PeriphClkInit.Adc34ClockSelection = RCC_ADC34PLLCLK_DIV1;
  PeriphClkInit.USBClockSelection = RCC_USBPLLCLK_DIV1_5;
  PeriphClkInit.Tim1ClockSelection = RCC_TIM1CLK_HCLK;
  HAL_RCCEx_PeriphCLKConfig(&PeriphClkInit);

  HAL_RCC_EnableCSS();

  __SYSCFG_CLK_ENABLE();

}

/************************ (C) COPYRIGHT STMicroelectronics *****END OF FILE****/
